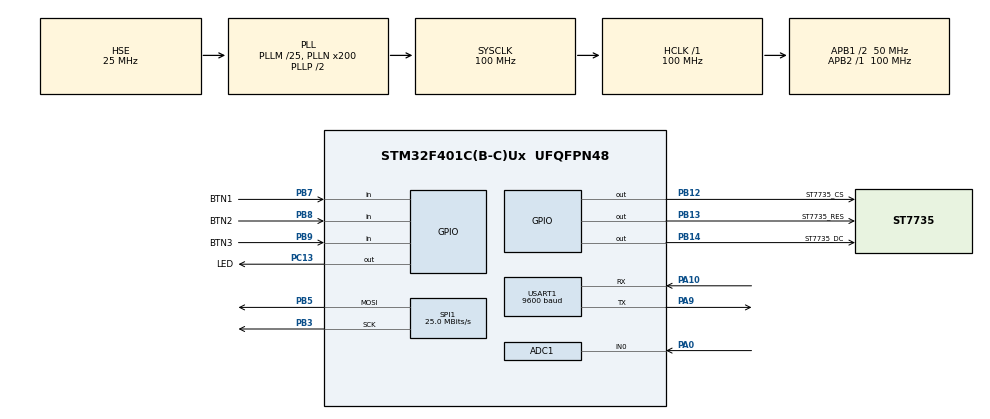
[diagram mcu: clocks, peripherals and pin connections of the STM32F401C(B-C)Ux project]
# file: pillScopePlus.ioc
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ADC1.ExternalTrigConv=ADC_EXTERNALTRIGCONV_T3_TRGO
ADC1.NbrOfConversionFlag=1
ADC1.master=1
Dma.ADC1.0.Direction=DMA_PERIPH_TO_MEMORY
Dma.ADC1.0.FIFOMode=DMA_FIFOMODE_ENABLE
Dma.ADC1.0.FIFOThreshold=DMA_FIFO_THRESHOLD_FULL
Dma.ADC1.0.Instance=DMA2_Stream0
Dma.ADC1.0.MemBurst=DMA_MBURST_SINGLE
Dma.ADC1.0.MemDataAlignment=DMA_MDATAALIGN_HALFWORD
Dma.ADC1.0.MemInc=DMA_MINC_ENABLE
Dma.ADC1.0.Mode=DMA_NORMAL
Dma.ADC1.0.PeriphBurst=DMA_PBURST_SINGLE
Dma.ADC1.0.PeriphDataAlignment=DMA_PDATAALIGN_HALFWORD
Dma.ADC1.0.PeriphInc=DMA_PINC_DISABLE
Dma.ADC1.0.Priority=DMA_PRIORITY_HIGH
Dma.MEMTOMEM.1.Direction=DMA_MEMORY_TO_MEMORY
Dma.MEMTOMEM.1.FIFOMode=DMA_FIFOMODE_ENABLE
Dma.MEMTOMEM.1.FIFOThreshold=DMA_FIFO_THRESHOLD_FULL
Dma.MEMTOMEM.1.Instance=DMA2_Stream1
Dma.MEMTOMEM.1.MemBurst=DMA_MBURST_SINGLE
Dma.MEMTOMEM.1.MemDataAlignment=DMA_MDATAALIGN_BYTE
Dma.MEMTOMEM.1.MemInc=DMA_MINC_ENABLE
Dma.MEMTOMEM.1.Mode=DMA_NORMAL
Dma.MEMTOMEM.1.PeriphBurst=DMA_PBURST_SINGLE
Dma.MEMTOMEM.1.PeriphDataAlignment=DMA_PDATAALIGN_BYTE
Dma.MEMTOMEM.1.PeriphInc=DMA_PINC_ENABLE
Dma.MEMTOMEM.1.Priority=DMA_PRIORITY_LOW
Dma.Request0=ADC1
Dma.Request1=MEMTOMEM
Mcu.Family=STM32F4
Mcu.Name=STM32F401C(B-C)Ux
Mcu.Package=UFQFPN48
NVIC.DMA2_Stream0_IRQn=true\:0\:0\:false\:false\:true\:false\:true\:true
NVIC.DMA2_Stream1_IRQn=true\:0\:0\:false\:false\:true\:true\:true\:true
NVIC.PriorityGroup=NVIC_PRIORITYGROUP_4
NVIC.USART1_IRQn=true\:0\:0\:false\:false\:true\:true\:true\:true
PA0-WKUP.Signal=ADCx_IN0
PA10.Mode=Asynchronous
PA10.Signal=USART1_RX
PA13.Mode=Serial_Wire
PA13.Signal=SYS_JTMS-SWDIO
PA14.Mode=Serial_Wire
PA14.Signal=SYS_JTCK-SWCLK
PA9.Mode=Asynchronous
PA9.Signal=USART1_TX
PB12.GPIO_Label=ST7735_CS
PB12.Signal=GPIO_Output
PB13.GPIO_Label=ST7735_RES
PB13.Signal=GPIO_Output
PB14.GPIO_Label=ST7735_DC
PB14.Signal=GPIO_Output
PB3.Mode=TX_Only_Simplex_Unidirect_Master
PB3.Signal=SPI1_SCK
PB5.Mode=TX_Only_Simplex_Unidirect_Master
PB5.Signal=SPI1_MOSI
PB7.GPIO_Label=BTN1
PB7.GPIO_PuPd=GPIO_PULLUP
PB7.Signal=GPIO_Input
PB8.GPIO_Label=BTN2
PB8.GPIO_PuPd=GPIO_PULLUP
PB8.Signal=GPIO_Input
PB9.GPIO_Label=BTN3
PB9.GPIO_PuPd=GPIO_PULLUP
PB9.Signal=GPIO_Input
PC13-ANTI_TAMP.GPIO_Label=LED
PC13-ANTI_TAMP.Signal=GPIO_Output
PH0\ -\ OSC_IN.Mode=HSE-External-Oscillator
PH0\ -\ OSC_IN.Signal=RCC_OSC_IN
PH1\ -\ OSC_OUT.Mode=HSE-External-Oscillator
PH1\ -\ OSC_OUT.Signal=RCC_OSC_OUT
ProjectManager.HeapSize=0x200
ProjectManager.StackSize=0x400
ProjectManager.TargetToolchain=Makefile
RCC.48MHZClocksFreq_Value=50000000
RCC.AHBFreq_Value=100000000
RCC.APB1CLKDivider=RCC_HCLK_DIV2
RCC.APB1Freq_Value=50000000
RCC.APB1TimFreq_Value=100000000
RCC.APB2Freq_Value=100000000
RCC.APB2TimFreq_Value=100000000
RCC.CortexFreq_Value=100000000
RCC.HCLKFreq_Value=100000000
RCC.HSE_VALUE=25000000
RCC.HSI_VALUE=16000000
RCC.LSE_VALUE=32768
RCC.PLLM=25
RCC.PLLN=200
RCC.PLLSourceVirtual=RCC_PLLSOURCE_HSE
RCC.SYSCLKFreq_VALUE=100000000
RCC.SYSCLKSource=RCC_SYSCLKSOURCE_PLLCLK
RCC.VCOOutputFreq_Value=200000000
SH.ADCx_IN0.0=ADC1_IN0,IN0
SPI1.BaudRatePrescaler=SPI_BAUDRATEPRESCALER_4
SPI1.CalculateBaudRate=25.0 MBits/s
SPI1.Direction=SPI_DIRECTION_2LINES
SPI1.Mode=SPI_MODE_MASTER
SPI1.VirtualType=VM_MASTER
TIM3.TIM_MasterOutputTrigger=TIM_TRGO_UPDATE
USART1.BaudRate=9600
USART1.VirtualMode=VM_ASYNC
VP_TIM3_VS_ClockSourceINT.Mode=Internal
board=custom

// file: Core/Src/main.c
/* USER CODE BEGIN Header */
/**
 ******************************************************************************
 * @file           : main.c
 * @brief          : Main program body
 ******************************************************************************
 * @attention
 *
 * Copyright (c) 2022 STMicroelectronics.
 * All rights reserved.
 *
 * This software is licensed under terms that can be found in the LICENSE file
 * in the root directory of this software component.
 * If no LICENSE file comes with this software, it is provided AS-IS.
 *
 ******************************************************************************
 */
/* USER CODE END Header */
#include "main.h"

 ADC_HandleTypeDef hadc1;
DMA_HandleTypeDef hdma_adc1;

SPI_HandleTypeDef hspi1;

TIM_HandleTypeDef htim3;

UART_HandleTypeDef huart1;

DMA_HandleTypeDef hdma_memtomem_dma2_stream1;

void SystemClock_Config(void);
static void MX_GPIO_Init(void);
static void MX_DMA_Init(void);
static void MX_ADC1_Init(void);
static void MX_SPI1_Init(void);
static void MX_TIM3_Init(void);
static void MX_USART1_UART_Init(void);

int main(void)
{

  /* MCU Configuration--------------------------------------------------------*/

  /* Reset of all peripherals, Initializes the Flash interface and the Systick. */
  HAL_Init();

  /* Configure the system clock */
  SystemClock_Config();

  /* Initialize all configured peripherals */
  MX_GPIO_Init();
  MX_DMA_Init();
  MX_ADC1_Init();
  MX_SPI1_Init();
  MX_TIM3_Init();
  MX_USART1_UART_Init();
  /* USER CODE BEGIN 2 */
  scopeInit();
  /* USER CODE END 2 */

  /* Infinite loop */
  /* USER CODE BEGIN WHILE */
  while (1)
  {
    scopeLoop();
    /* USER CODE END WHILE */

  }
}

void SystemClock_Config(void)
{
  RCC_OscInitTypeDef RCC_OscInitStruct = {0};
  RCC_ClkInitTypeDef RCC_ClkInitStruct = {0};

  /** Configure the main internal regulator output voltage
  */
  __HAL_RCC_PWR_CLK_ENABLE();
  __HAL_PWR_VOLTAGESCALING_CONFIG(PWR_REGULATOR_VOLTAGE_SCALE2);

  /** Initializes the RCC Oscillators according to the specified parameters
  * in the RCC_OscInitTypeDef structure.
  */
  RCC_OscInitStruct.OscillatorType = RCC_OSCILLATORTYPE_HSE;
  RCC_OscInitStruct.HSEState = RCC_HSE_ON;
  RCC_OscInitStruct.PLL.PLLState = RCC_PLL_ON;
  RCC_OscInitStruct.PLL.PLLSource = RCC_PLLSOURCE_HSE;
  RCC_OscInitStruct.PLL.PLLM = 25;
  RCC_OscInitStruct.PLL.PLLN = 200;
  RCC_OscInitStruct.PLL.PLLP = RCC_PLLP_DIV2;
  RCC_OscInitStruct.PLL.PLLQ = 4;
  if (HAL_RCC_OscConfig(&RCC_OscInitStruct) != HAL_OK)
  {
    Error_Handler();
  }

  /** Initializes the CPU, AHB and APB buses clocks
  */
  RCC_ClkInitStruct.ClockType = RCC_CLOCKTYPE_HCLK|RCC_CLOCKTYPE_SYSCLK
                              |RCC_CLOCKTYPE_PCLK1|RCC_CLOCKTYPE_PCLK2;
  RCC_ClkInitStruct.SYSCLKSource = RCC_SYSCLKSOURCE_PLLCLK;
  RCC_ClkInitStruct.AHBCLKDivider = RCC_SYSCLK_DIV1;
  RCC_ClkInitStruct.APB1CLKDivider = RCC_HCLK_DIV2;
  RCC_ClkInitStruct.APB2CLKDivider = RCC_HCLK_DIV1;

  if (HAL_RCC_ClockConfig(&RCC_ClkInitStruct, FLASH_LATENCY_2) != HAL_OK)
  {
    Error_Handler();
  }
}

static void MX_ADC1_Init(void)
{

  /** Configure the global features of the ADC (Clock, Resolution, Data Alignment and number of conversion)
  */
  hadc1.Instance = ADC1;
  hadc1.Init.ClockPrescaler = ADC_CLOCK_SYNC_PCLK_DIV4;
  hadc1.Init.Resolution = ADC_RESOLUTION_12B;
  hadc1.Init.ScanConvMode = DISABLE;
  hadc1.Init.ContinuousConvMode = DISABLE;
  hadc1.Init.DiscontinuousConvMode = DISABLE;
  hadc1.Init.ExternalTrigConvEdge = ADC_EXTERNALTRIGCONVEDGE_RISING;
  hadc1.Init.ExternalTrigConv = ADC_EXTERNALTRIGCONV_T3_TRGO;
  hadc1.Init.DataAlign = ADC_DATAALIGN_RIGHT;
  hadc1.Init.NbrOfConversion = 1;
  hadc1.Init.DMAContinuousRequests = DISABLE;
  hadc1.Init.EOCSelection = ADC_EOC_SINGLE_CONV;
  if (HAL_ADC_Init(&hadc1) != HAL_OK)
  {
    Error_Handler();
  }

}

static void MX_SPI1_Init(void)
{

  /* SPI1 parameter configuration*/
  hspi1.Instance = SPI1;
  hspi1.Init.Mode = SPI_MODE_MASTER;
  hspi1.Init.Direction = SPI_DIRECTION_2LINES;
  hspi1.Init.DataSize = SPI_DATASIZE_8BIT;
  hspi1.Init.CLKPolarity = SPI_POLARITY_LOW;
  hspi1.Init.CLKPhase = SPI_PHASE_1EDGE;
  hspi1.Init.NSS = SPI_NSS_SOFT;
  hspi1.Init.BaudRatePrescaler = SPI_BAUDRATEPRESCALER_4;
  hspi1.Init.FirstBit = SPI_FIRSTBIT_MSB;
  hspi1.Init.TIMode = SPI_TIMODE_DISABLE;
  hspi1.Init.CRCCalculation = SPI_CRCCALCULATION_DISABLE;
  hspi1.Init.CRCPolynomial = 10;
  if (HAL_SPI_Init(&hspi1) != HAL_OK)
  {
    Error_Handler();
  }

}

static void MX_TIM3_Init(void)
{

  TIM_ClockConfigTypeDef sClockSourceConfig = {0};
  TIM_MasterConfigTypeDef sMasterConfig = {0};

  htim3.Instance = TIM3;
  htim3.Init.Prescaler = 0;
  htim3.Init.CounterMode = TIM_COUNTERMODE_UP;
  htim3.Init.Period = 65535;
  htim3.Init.ClockDivision = TIM_CLOCKDIVISION_DIV1;
  htim3.Init.AutoReloadPreload = TIM_AUTORELOAD_PRELOAD_DISABLE;
  if (HAL_TIM_Base_Init(&htim3) != HAL_OK)
  {
    Error_Handler();
  }
  sClockSourceConfig.ClockSource = TIM_CLOCKSOURCE_INTERNAL;
  if (HAL_TIM_ConfigClockSource(&htim3, &sClockSourceConfig) != HAL_OK)
  {
    Error_Handler();
  }
  sMasterConfig.MasterOutputTrigger = TIM_TRGO_UPDATE;
  sMasterConfig.MasterSlaveMode = TIM_MASTERSLAVEMODE_DISABLE;
  if (HAL_TIMEx_MasterConfigSynchronization(&htim3, &sMasterConfig) != HAL_OK)
  {
    Error_Handler();
  }

}

static void MX_USART1_UART_Init(void)
{

  huart1.Instance = USART1;
  huart1.Init.BaudRate = 9600;
  huart1.Init.WordLength = UART_WORDLENGTH_8B;
  huart1.Init.StopBits = UART_STOPBITS_1;
  huart1.Init.Parity = UART_PARITY_NONE;
  huart1.Init.Mode = UART_MODE_TX_RX;
  huart1.Init.HwFlowCtl = UART_HWCONTROL_NONE;
  huart1.Init.OverSampling = UART_OVERSAMPLING_16;
  if (HAL_UART_Init(&huart1) != HAL_OK)
  {
    Error_Handler();
  }

}

static void MX_DMA_Init(void)
{

  /* DMA controller clock enable */
  __HAL_RCC_DMA2_CLK_ENABLE();

  /* Configure DMA request hdma_memtomem_dma2_stream1 on DMA2_Stream1 */
  hdma_memtomem_dma2_stream1.Instance = DMA2_Stream1;
  hdma_memtomem_dma2_stream1.Init.Channel = DMA_CHANNEL_0;
  hdma_memtomem_dma2_stream1.Init.Direction = DMA_MEMORY_TO_MEMORY;
  hdma_memtomem_dma2_stream1.Init.PeriphInc = DMA_PINC_ENABLE;
  hdma_memtomem_dma2_stream1.Init.MemInc = DMA_MINC_ENABLE;
  hdma_memtomem_dma2_stream1.Init.PeriphDataAlignment = DMA_PDATAALIGN_BYTE;
  hdma_memtomem_dma2_stream1.Init.MemDataAlignment = DMA_MDATAALIGN_BYTE;
  hdma_memtomem_dma2_stream1.Init.Mode = DMA_NORMAL;
  hdma_memtomem_dma2_stream1.Init.Priority = DMA_PRIORITY_LOW;
  hdma_memtomem_dma2_stream1.Init.FIFOMode = DMA_FIFOMODE_ENABLE;
  hdma_memtomem_dma2_stream1.Init.FIFOThreshold = DMA_FIFO_THRESHOLD_FULL;
  hdma_memtomem_dma2_stream1.Init.MemBurst = DMA_MBURST_SINGLE;
  hdma_memtomem_dma2_stream1.Init.PeriphBurst = DMA_PBURST_SINGLE;
  if (HAL_DMA_Init(&hdma_memtomem_dma2_stream1) != HAL_OK)
  {
    Error_Handler( );
  }

  /* DMA interrupt init */
  /* DMA2_Stream0_IRQn interrupt configuration */
  HAL_NVIC_SetPriority(DMA2_Stream0_IRQn, 0, 0);
  HAL_NVIC_EnableIRQ(DMA2_Stream0_IRQn);
  /* DMA2_Stream1_IRQn interrupt configuration */
  HAL_NVIC_SetPriority(DMA2_Stream1_IRQn, 0, 0);
  HAL_NVIC_EnableIRQ(DMA2_Stream1_IRQn);

}

static void MX_GPIO_Init(void)
{
  GPIO_InitTypeDef GPIO_InitStruct = {0};

  /* GPIO Ports Clock Enable */
  __HAL_RCC_GPIOC_CLK_ENABLE();
  __HAL_RCC_GPIOH_CLK_ENABLE();
  __HAL_RCC_GPIOA_CLK_ENABLE();
  __HAL_RCC_GPIOB_CLK_ENABLE();

  /*Configure GPIO pin Output Level */
  HAL_GPIO_WritePin(LED_GPIO_Port, LED_Pin, GPIO_PIN_RESET);

  /*Configure GPIO pin Output Level */
  HAL_GPIO_WritePin(GPIOB, ST7735_CS_Pin|ST7735_RES_Pin|ST7735_DC_Pin, GPIO_PIN_RESET);

  /*Configure GPIO pin : LED_Pin */
  GPIO_InitStruct.Pin = LED_Pin;
  GPIO_InitStruct.Mode = GPIO_MODE_OUTPUT_PP;
  GPIO_InitStruct.Pull = GPIO_NOPULL;
  GPIO_InitStruct.Speed = GPIO_SPEED_FREQ_LOW;
  HAL_GPIO_Init(LED_GPIO_Port, &GPIO_InitStruct);

  /*Configure GPIO pins : ST7735_CS_Pin ST7735_RES_Pin ST7735_DC_Pin */
  GPIO_InitStruct.Pin = ST7735_CS_Pin|ST7735_RES_Pin|ST7735_DC_Pin;
  GPIO_InitStruct.Mode = GPIO_MODE_OUTPUT_PP;
  GPIO_InitStruct.Pull = GPIO_NOPULL;
  GPIO_InitStruct.Speed = GPIO_SPEED_FREQ_LOW;
  HAL_GPIO_Init(GPIOB, &GPIO_InitStruct);

  /*Configure GPIO pins : BTN1_Pin BTN2_Pin BTN3_Pin */
  GPIO_InitStruct.Pin = BTN1_Pin|BTN2_Pin|BTN3_Pin;
  GPIO_InitStruct.Mode = GPIO_MODE_INPUT;
  GPIO_InitStruct.Pull = GPIO_PULLUP;
  HAL_GPIO_Init(GPIOB, &GPIO_InitStruct);

}

/* USER CODE BEGIN 4 */
int __io_putchar(int ch)
{
  writeChar(ch);
  return ch;
}

void printFloat(float v, int decimalDigits, char s[])
{
  uint8_t neg = 0;
  if (v < 0)
  {
    neg = 1;
    v = v - (2.0 * v);
  }
  int i = 1;
  int intPart, fractPart;
  for (; decimalDigits != 0; i *= 10, decimalDigits--)
    ;
  intPart = (int)v;
  fractPart = (int)((v - (float)(int)v) * i);
  if (fractPart < 0)
    fractPart *= -1;
  if (neg)
    sprintf(s, "-%i.%i", intPart, fractPart);
  else
    sprintf(s, "%i.%i", intPart, fractPart);
}

void *dma_memcpy(void *destination, const void *source, size_t num){
  HAL_DMA_Start_IT(&hdma_memtomem_dma2_stream1, source, destination, num);
  while(HAL_DMA_GetState(&hdma_memtomem_dma2_stream1) != HAL_DMA_STATE_READY);
}

/* USER CODE END 4 */

void Error_Handler(void)
{
  __disable_irq();
  while (1)
  {
  }
}
